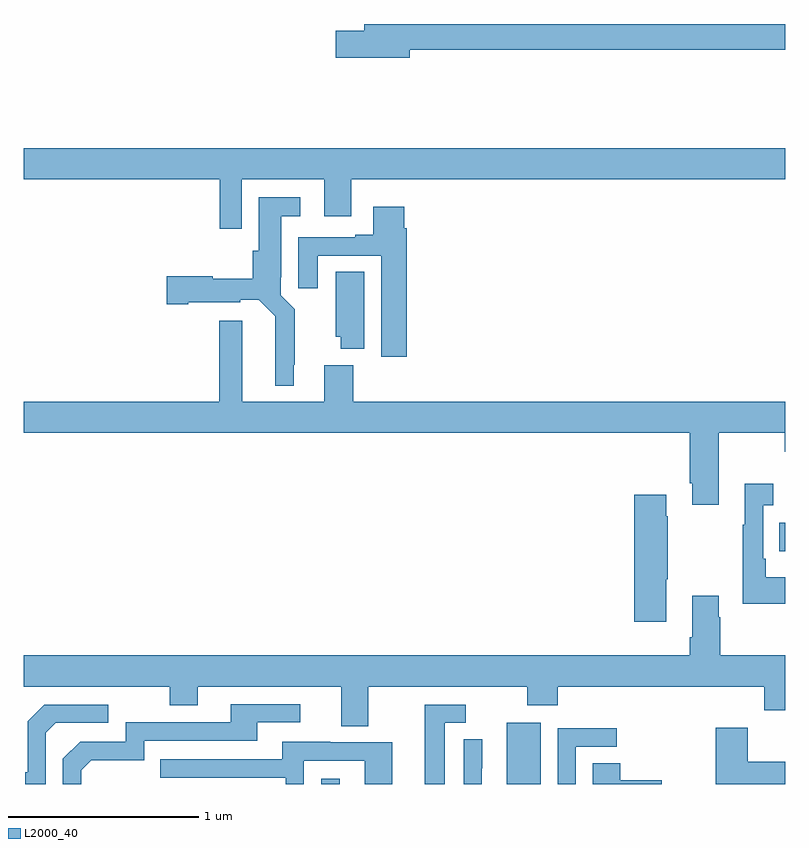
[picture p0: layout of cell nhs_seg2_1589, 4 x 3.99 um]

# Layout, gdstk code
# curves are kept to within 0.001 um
import gdstk
lib = gdstk.Library(unit=1e-6, precision=1e-09)
def R(c, l, rs):  # rectangles x0, y0, x1, y1
    for r in rs: c.add(gdstk.rectangle(r[:2], r[2:], *l))
def P(c, l, *ps):  # polygons
    for p in ps: c.add(gdstk.Polygon(p, *l))
L2000_40 = (2000, 40)

nhs_seg2_1589 = lib.new_cell('nhs_seg2_1589')
R(nhs_seg2_1589, L2000_40, [(194.562,637.8,194.659,637.828), (195.536,637.8,195.715,638.122), (196.969,639.023,197,639.171)])
P(nhs_seg2_1589, L2000_40, [(195.028,641.656),(197,641.656),(197,641.792),(194.789,641.792),(194.789,641.756),(194.64,641.756),(194.64,641.614),(195.028,641.614)],
  [(194.145,640.976),(194.579,640.976),(194.579,640.782),(194.719,640.782),(194.719,640.976),(197,640.976),(197,641.14),(193,641.14),(193,640.976),(194.029,640.976),(194.029,640.716),(194.145,640.716)],
  [(194.419,640.003),(194.423,640.003),(194.423,640.294),(194.349,640.368),(194.349,640.462),(194.353,640.462),(194.353,640.781),(194.452,640.781),(194.452,640.882),(194.234,640.882),(194.234,640.602),(194.204,640.602),(194.204,640.453),(193.992,640.453),(193.992,640.466),(193.752,640.466),(193.752,640.319),(193.864,640.319),(193.864,640.331),(194.136,640.331),(194.136,640.343),(194.235,640.343),(194.322,640.256),(194.321,639.893),(194.419,639.893)],
  [(195.011,640.718),(194.998,640.718),(194.998,640.831),(194.837,640.831),(194.837,640.684),(194.741,640.684),(194.741,640.671),(194.441,640.671),(194.441,640.404),(194.545,640.404),(194.545,640.575),(194.879,640.575),(194.879,640.044),(195.011,640.044)],
  [(194.788,640.49),(194.639,640.49),(194.639,640.149),(194.666,640.149),(194.666,640.085),(194.788,640.085)],
  [(196.651,639.644),(196.996,639.644),(196.996,639.545),(197,639.545),(197,639.808),(194.732,639.808),(194.732,640),(194.579,640),(194.579,639.808),(194.149,639.808),(194.149,640.234),(194.027,640.234),(194.027,639.808),(193,639.808),(193,639.644),(196.499,639.644),(196.499,639.379),(196.511,639.379),(196.511,639.267),(196.651,639.267)],
  [(197,638.887),(196.897,638.887),(196.897,638.983),(196.884,638.983),(196.884,639.263),(196.936,639.263),(196.936,639.376),(196.787,639.376),(196.787,639.163),(196.776,639.163),(196.776,638.747),(197,638.747)],
  [(196.375,638.875),(196.383,638.875),(196.383,639.206),(196.375,639.206),(196.375,639.319),(196.208,639.319),(196.208,638.652),(196.375,638.652)],
  [(194.809,638.312),(195.646,638.312),(195.646,638.213),(195.806,638.213),(195.806,638.312),(196.889,638.312),(196.889,638.188),(197,638.188),(197,638.476),(196.659,638.476),(196.659,638.675),(196.651,638.675),(196.651,638.788),(196.511,638.788),(196.511,638.572),(196.499,638.572),(196.499,638.476),(193,638.476),(193,638.312),(193.768,638.312),(193.768,638.213),(193.915,638.213),(193.915,638.312),(194.669,638.312),(194.669,638.104),(194.809,638.104)],
  [(193.302,637.872),(193.355,637.925),(193.632,637.925),(193.632,638.028),(194.227,638.028),(194.227,638.124),(194.452,638.124),(194.452,638.22),(194.087,638.22),(194.087,638.124),(193.536,638.124),(193.536,638.022),(193.296,638.022),(193.206,637.932),(193.206,637.8),(193.302,637.8)],
  [(193.116,638.07),(193.167,638.121),(193.444,638.121),(193.444,638.217),(193.107,638.217),(193.02,638.13),(193.02,637.861),(193.008,637.861),(193.008,637.8),(193.116,637.8)],
  [(195.211,638.121),(195.322,638.121),(195.322,638.217),(195.107,638.217),(195.107,637.8),(195.211,637.8)],
  [(197,637.918),(196.804,637.918),(196.804,638.095),(196.634,638.095),(196.634,637.8),(197,637.8)],
  [(195.9,637.995),(196.114,637.995),(196.114,638.094),(195.804,638.094),(195.804,637.8),(195.9,637.8)],
  [(195.407,637.882),(195.408,637.882),(195.408,638.036),(195.312,638.036),(195.312,637.8),(195.407,637.8)],
  [(194.472,637.923),(194.79,637.923),(194.79,637.8),(194.935,637.8),(194.935,638.019),(194.611,638.019),(194.611,638.023),(194.357,638.023),(194.357,637.929),(193.717,637.929),(193.717,637.833),(194.376,637.833),(194.376,637.8),(194.472,637.8)],
  [(196.351,637.82),(196.133,637.82),(196.133,637.91),(195.989,637.91),(195.989,637.8),(196.351,637.8)])

lib.write_gds('nhs_seg2_1589.gds')
